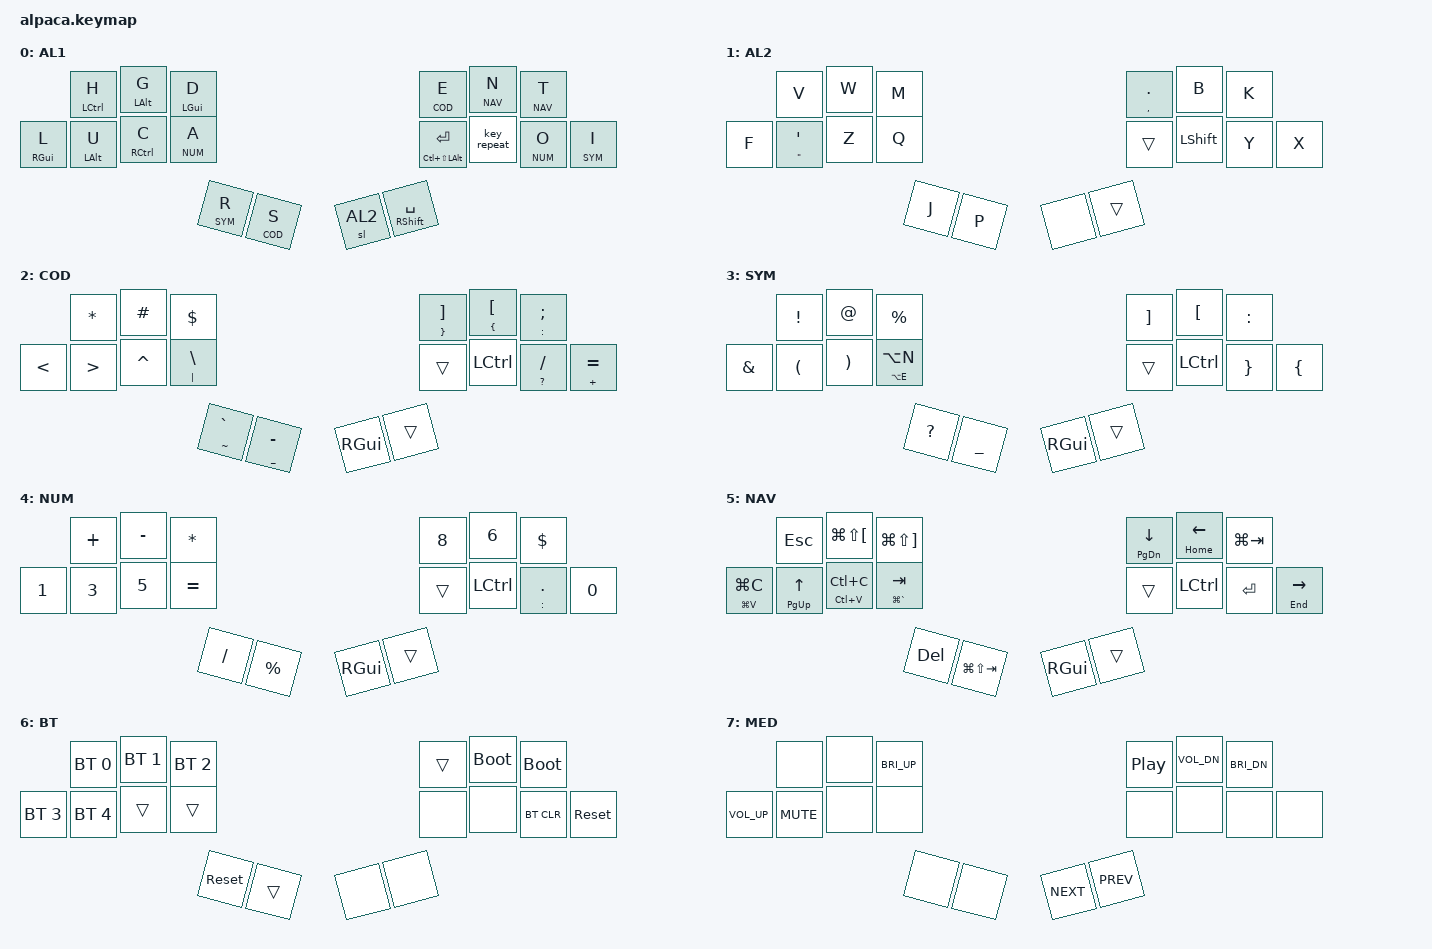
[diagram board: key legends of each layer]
/*
 * Copyright (c) 2020 The ZMK Contributors
 *
 * SPDX-License-Identifier: MIT
 */

#include <behaviors.dtsi>
#include <dt-bindings/zmk/keys.h>
#include <dt-bindings/zmk/bt.h>

&mt {
    tapping-term-ms = <201>;
    flavor = "tap-preferred";
 };
&sk {
     release-after-ms = <2000>;
     quick-release;
 };
 
/* Layers */
#define AL1 0
#define AL2 1
#define COD 2
#define SYM 3
#define NUM 4
#define NAV 5
#define BT 6
#define MED 7
/ { 
    combos {
        compatible = "zmk,combos";
        combo_esc {
            timeout-ms = <30>;
            key-positions = <0 1>;
            bindings = <&kp ESC>;
            layers = <AL1>;
        };
        combo_bksp {
            timeout-ms = <30>;
            key-positions = <4 5>;
            bindings = <&kp BKSP>;
            layers = <AL1>;
        };
        combo_tab {
            timeout-ms = <30>;
            key-positions = <7 8>;
            bindings = <&kp TAB>;
            layers = <AL1>;
        };
        combo_del {
            timeout-ms = <30>;
            key-positions = <11 12>;
            bindings = <&kp DEL>;
            layers = <AL1>;
        };
    	number_2 {
    	    timeout-ms = <200>;
    	    key-positions = <3 4>;
    	    bindings = <&kp N2>;
    	    layers = <NUM>;
    	};
    	number_4 {
    	    timeout-ms = <200>;
    	    key-positions = <4 5>;
    	    bindings = <&kp N4>;
    	    layers = <NUM>;
    	};
    	number_7 {
    	    timeout-ms = <200>;
    	    key-positions = <10 11>;
    	    bindings = <&kp N7>;
    	    layers = <NUM>;
    	};
    	number_9 {
    	    timeout-ms = <200>;
    	    key-positions = <11 12>;
    	    bindings = <&kp N9>;
    	    layers = <NUM>;
    	};
        combo_nav {
            timeout-ms = <30>;
            key-positions = <5 12>;
            bindings = <&to NAV>;
            layers = <AL1>;
        };
        combo_caps {
            timeout-ms = <30>;
            key-positions = <15 16>;
            bindings = <&caps_word>;
	    layers = <AL1>;
        };
        combo_num {
            timeout-ms = <30>;
            key-positions = <0 7>;
            bindings = <&to NUM>;
            layers = <AL1>;
        };
        combo_bt  {
            timeout-ms = <10>;
            key-positions = <11 12>;
            bindings = <&to BT>;
            layers = <COD>;
        };
        combo_med  {
            timeout-ms = <10>;
            key-positions = <6 13>;
            bindings = <&to MED>;
            layers = <AL1>;
        };
        combo_a1 {
            timeout-ms = <30>;
            key-positions = <15 16>;
            bindings = <&to AL1>;
	    layers = <AL2 COD SYM NUM NAV BT MED>;
        };
    };

    behaviors {
        hm_l: homerow_mods_left {
            compatible = "zmk,behavior-hold-tap";
            #binding-cells = <2>;
            tapping-term-ms = <300>;
            quick-tap-ms = <250>;
            flavor = "tap-preferred";
            bindings = <&kp>, <&kp>;
            hold-trigger-key-positions = <3 4 5 10 11 12 13 14>; // right hand
        };
        hm_r: homerow_mods_right {
            compatible = "zmk,behavior-hold-tap";
            #binding-cells = <2>;
            tapping-term-ms = <300>;
            quick-tap-ms = <250>;
            flavor = "tap-preferred";
            bindings = <&kp>, <&kp>;
        hold-trigger-key-positions = <0 1 2 6 7 8 9>; // left hand
        };
        sr: shift_layer {
            compatible = "zmk,behavior-hold-tap";
            #binding-cells = <2>;
            tapping-term-ms = <300>;
            quick_tap_ms = <0>;
            flavor = "tap-preferred";
            bindings = <&kp>, <&to>;
        retro-tap;
        };
        hl_l: homerow_layers_left {
            compatible = "zmk,behavior-hold-tap";
            #binding-cells = <2>;
            tapping-term-ms = <220>;
            quick-tap-ms = <250>;
            flavor = "tap-preferred";
            bindings = <&mo>, <&kp>;
        hold-trigger-key-positions = <3 4 5 10 11 12 13 14>; // right hand
        };
        hl_r: homerow_layers_right {
            compatible = "zmk,behavior-hold-tap";
            #binding-cells = <2>;
            tapping-term-ms = <220>;
            quick-tap-ms = <250>;
            flavor = "tap-preferred";
            bindings = <&mo>, <&kp>;
        hold-trigger-key-positions = <0 1 2 6 7 8 9>; // left hand
        };
        td: tapdance {
            compatible = "zmk,behavior-hold-tap";
            #binding-cells = <2>;
            tapping-term-ms = <190>;
            quick-tap-ms = <250>;
            flavor = "tap-preferred";
            bindings = <&kp>, <&kp>;
        };
  };

//                  0       1       2                   3       4           5
//          6       7       8       9                   10      11          12          13
//                          14      15                  16      17
       keymap {
                compatible = "zmk,keymap";
                
                alpha1 {
                display-name = "AL1";
        bindings = <
                            &hm_l LCTRL H    &hm_l LALT G    &hm_l LGUI D                &hm_r RGUI L    &hm_r LALT U        &hm_r RCTRL C
            &hl_l NUM A     &hl_l SYM R      &hl_l COD S     &hl_l NAV T                 &hl_r NAV N     &hl_r COD E         &hl_r SYM I     &hl_r NUM O
                                             &key_repeat     &td LC(LS(LALT)) ENTER      &td RSHIFT SPACE  &sl AL2
        >;
        };

                alpha2 {
                display-name = "AL2";
        bindings = <
                    &kp V       &kp W               &kp M               &kp F       &td DQT SQT         &kp Z
        &kp Q       &kp J       &kp P               &kp K               &kp B       &td COMMA DOT         &kp X       &kp Y
                                &kp LSHIFT          &trans                &trans      &none
        >;
        };

                code {
                display-name = "COD";
        bindings = <
                    &kp STAR    &kp HASH  &kp DLLR                       &kp LESS_THAN   &kp GREATER_THAN     &kp CARET
        &td PIPE BSLH   &td TILDE GRAVE    &td UNDER MINUS   &td COLON SEMICOLON                      &td LBRC LBKT    &td RBRC RBKT        &td PLUS EQUAL    &td QMARK SLASH
                                &kp LCTRL   &trans                         &trans          &kp RGUI
        >;
        };

        sym {
        display-name = "SYM";
        bindings = <
                    &kp EXCL    &kp AT        &kp PRCNT                &kp AMPS    &kp LPAR    &kp RPAR
        &td LA(E) LA(N)    &kp QMARK   &kp UNDER         &kp COLON             &kp LBKT    &kp RBKT    &kp LBRC    &kp RBRC
                                &kp LCTRL   &trans                         &trans          &kp RGUI

        >;
        };

        num {
        display-name = "NUM";
        bindings = <
                     &kp PLUS    &kp MINUS    &kp STAR            &kp N1    &kp N3    &kp N5
        &kp EQUAL    &kp SLASH   &kp PRCNT    &kp DLLR            &kp N6    &kp N8    &kp N0    &td COLON DOT
                                 &kp LCTRL    &trans              &trans    &kp RGUI
        >;
        };

        nav {
        display-name = "NAV";
        bindings = <
                            &kp ESC        &kp LG(LS(LBKT))    &kp LG(LS(RBKT))         &td LG(V) LG(C)     &td PG_UP UP    &td LC(V) LC(C)
        &td LG(GRAVE) TAB   &kp DEL &kp LG(LS(TAB))        &kp LG(TAB)         &td HOME LEFT            &td PG_DN DOWN  &td END RIGHT   &kp RET
                                &kp LCTRL   &trans                         &trans          &kp RGUI
        >;
        };

        bt {
        display-name = "BT";
        bindings = <
                  &bt BT_SEL 0    &bt BT_SEL 1  &bt BT_SEL 2           &bt BT_SEL 3     &bt BT_SEL 4   &trans
        &trans    &sys_reset          &trans        &bootloader            &bootloader      &trans         &sys_reset  &bt BT_CLR
                                  &none         &none                &none     &none
        >;
        };

        med {
        display-name = "MED";
            bindings = <
                     &none   &none   &kp C_BRI_UP           &kp C_VOL_UP   &kp C_MUTE   &none
     &none    &none   &none    &kp C_BRI_DN        &kp C_VOL_DN   &kp C_PP   &none  &none
                               &none     &none          &kp C_PREV    &kp C_NEXT
                >;
        };
    };
};
